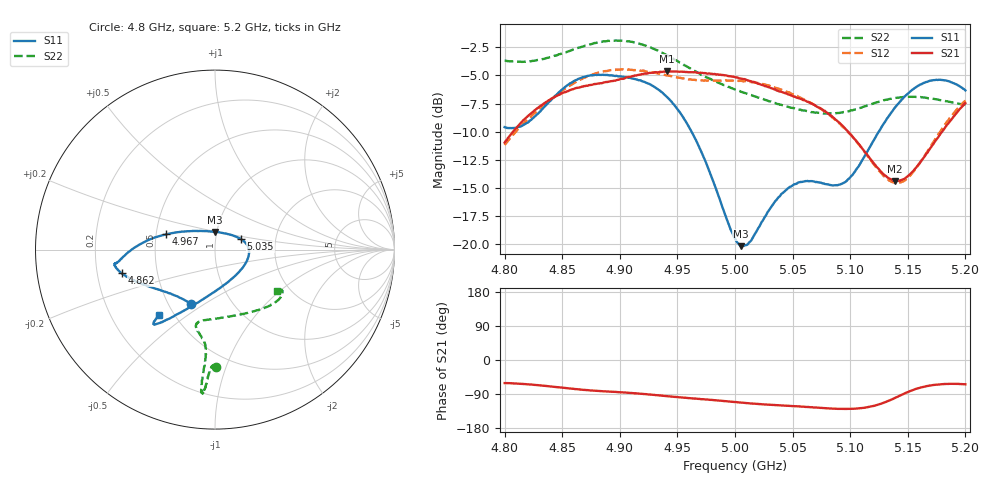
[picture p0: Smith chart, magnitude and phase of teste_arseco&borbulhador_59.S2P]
! Network Analyzer HP8722D
! Hewlett-Packard
! Data name: Linha & Wilkinson
! Saver's name: Rodrigo Anjos
! Comments: Teste da utilização de aquisição
! continua pelo VNA HP8722D
! Time and date: 15/4/2025 16:07
!  Frequency  S11  S21  S12  S22
# HZ  S  MA R 50
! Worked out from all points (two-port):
!   401 points, 4.8 GHz to 5.2 GHz, reference 50 ohm
!   highest |S21| = -4.64 dB at 4.941 GHz (marker M1); lowest = -14.4 dB at 5.139 GHz (marker M2)
!   |S21| within 3 dB of the highest: 4.832 GHz to 5.069 GHz (236.9 MHz wide, 4.79 % of centre); 5.198318 GHz to end of sweep
!   lowest |S11| = -20.2 dB at 5.005 GHz (marker M3), VSWR 1.22, Z = 49.1 + j9.72 ohm
!   |S11| at or under -10 dB: 4.962 GHz to 5.125 GHz (162.5 MHz wide, 3.22 % of centre)
!   |S22| runs from -8.4 to -1.9 dB; largest |S21 - S12| = 0.88
!   S11 on the Smith chart (normalised r, x): 4.8 GHz: 0.65, -0.44; 4.862 GHz: 0.31, -0.11; 4.967 GHz: 0.57, +0.11; 5.035 GHz: 1.32, +0.16; 5.2 GHz: 0.41, -0.39
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4.8e9  0.3314 -114.0  0.2827 -60.9  0.2761 -175.1  0.6544 -89.5
4.819e9  0.3455 -133.7  0.3658 -63.9  0.3531 -173.4  0.6486 -91.1
4.862e9  0.5362 -165.8  0.4944 -76.8  0.5262 -176.4  0.7407 -93.5
4.867e9  0.5495 -167.8  0.5015 -78.3  0.5418 -177.5  0.7541 -93.9
4.903e9  0.5552 -172.3  0.5428 -85.5  0.5977 175.0  0.8006 -95.3
4.934e9  0.4846 -178.2  0.5813 -93.5  0.5726 171.9  0.7194 -95.6
4.941e9  0.4506 178.8  0.5862 -95.3  0.5627 171.8  0.6915 -95.4
4.967e9  0.2835 162.4  0.5775 -102.3  0.5361 173.8  0.5817 -95.1
5e9  0.1063 106.8  0.5524 -111.0  0.5334 176.4  0.4869 -99.2
5.005e9  0.09809 89.9  0.5439 -112.4  0.532 176.3  0.4755 -100.4
5.013e9  0.1026 63.6  0.5309 -114.5  0.5259 176.3  0.4618 -102.1
5.035e9  0.1556 22.6  0.4865 -118.9  0.4955 175.1  0.4239 -103.8
5.05e9  0.1827 6.5  0.4553 -121.7  0.4644 174.4  0.403 -100.4
5.067e9  0.1907 -11.7  0.4207 -124.6  0.4217 174.0  0.386 -91.9
5.086e9  0.1828 -42.0  0.3634 -128.5  0.361 173.6  0.3817 -77.8
5.097e9  0.1913 -65.3  0.3209 -129.1  0.3199 174.5  0.3884 -68.5
5.134e9  0.3742 -116.2  0.1956 -106.8  0.1914 -159.5  0.4418 -43.4
5.139e9  0.4056 -119.2  0.191 -99.9  0.1877 -151.8  0.4464 -41.2
5.151e9  0.4717 -124.3  0.2025 -83.5  0.1997 -132.8  0.452 -36.6
5.17e9  0.5327 -128.7  0.2689 -67.1  0.2732 -113.0  0.4442 -32.1
5.184e9  0.5322 -130.0  0.3392 -63.2  0.3504 -107.3  0.4316 -31.2
5.2e9  0.4822 -130.5  0.4235 -64.1  0.435 -106.1  0.4157 -33.4
